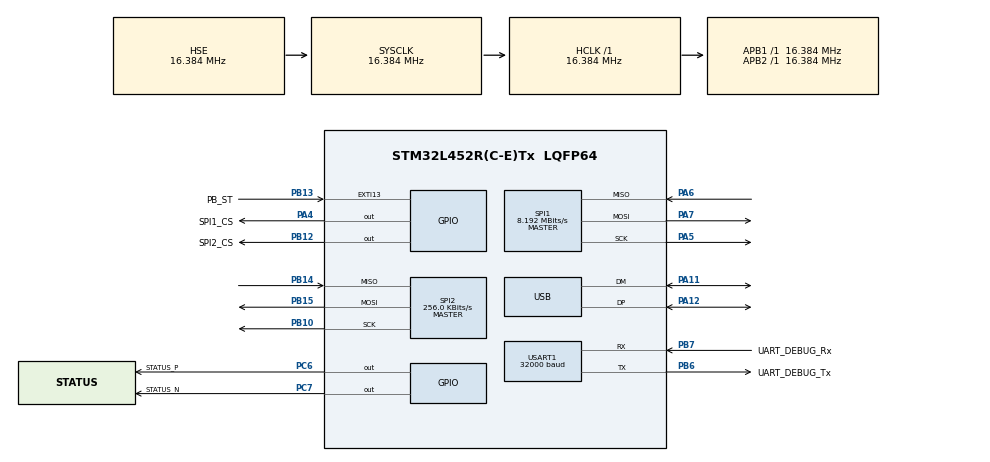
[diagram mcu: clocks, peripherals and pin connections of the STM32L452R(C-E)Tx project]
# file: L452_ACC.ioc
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Dma.Request0=SPI1_RX
Dma.Request1=SPI1_TX
Dma.Request2=USART1_TX
Dma.Request3=SPI2_RX
Dma.Request4=SPI2_TX
Dma.SPI1_RX.0.Direction=DMA_PERIPH_TO_MEMORY
Dma.SPI1_RX.0.Instance=DMA1_Channel2
Dma.SPI1_RX.0.MemDataAlignment=DMA_MDATAALIGN_BYTE
Dma.SPI1_RX.0.MemInc=DMA_MINC_ENABLE
Dma.SPI1_RX.0.Mode=DMA_NORMAL
Dma.SPI1_RX.0.PeriphDataAlignment=DMA_PDATAALIGN_BYTE
Dma.SPI1_RX.0.PeriphInc=DMA_PINC_DISABLE
Dma.SPI1_RX.0.Priority=DMA_PRIORITY_LOW
Dma.SPI1_TX.1.Direction=DMA_MEMORY_TO_PERIPH
Dma.SPI1_TX.1.Instance=DMA1_Channel3
Dma.SPI1_TX.1.MemDataAlignment=DMA_MDATAALIGN_BYTE
Dma.SPI1_TX.1.MemInc=DMA_MINC_ENABLE
Dma.SPI1_TX.1.Mode=DMA_NORMAL
Dma.SPI1_TX.1.PeriphDataAlignment=DMA_PDATAALIGN_BYTE
Dma.SPI1_TX.1.PeriphInc=DMA_PINC_DISABLE
Dma.SPI1_TX.1.Priority=DMA_PRIORITY_LOW
Dma.SPI2_RX.3.Direction=DMA_PERIPH_TO_MEMORY
Dma.SPI2_RX.3.Instance=DMA1_Channel4
Dma.SPI2_RX.3.MemDataAlignment=DMA_MDATAALIGN_BYTE
Dma.SPI2_RX.3.MemInc=DMA_MINC_ENABLE
Dma.SPI2_RX.3.Mode=DMA_NORMAL
Dma.SPI2_RX.3.PeriphDataAlignment=DMA_PDATAALIGN_BYTE
Dma.SPI2_RX.3.PeriphInc=DMA_PINC_DISABLE
Dma.SPI2_RX.3.Priority=DMA_PRIORITY_LOW
Dma.SPI2_TX.4.Direction=DMA_MEMORY_TO_PERIPH
Dma.SPI2_TX.4.Instance=DMA1_Channel5
Dma.SPI2_TX.4.MemDataAlignment=DMA_MDATAALIGN_BYTE
Dma.SPI2_TX.4.MemInc=DMA_MINC_ENABLE
Dma.SPI2_TX.4.Mode=DMA_NORMAL
Dma.SPI2_TX.4.PeriphDataAlignment=DMA_PDATAALIGN_BYTE
Dma.SPI2_TX.4.PeriphInc=DMA_PINC_DISABLE
Dma.SPI2_TX.4.Priority=DMA_PRIORITY_LOW
Dma.USART1_TX.2.Direction=DMA_MEMORY_TO_PERIPH
Dma.USART1_TX.2.Instance=DMA2_Channel6
Dma.USART1_TX.2.MemDataAlignment=DMA_MDATAALIGN_BYTE
Dma.USART1_TX.2.MemInc=DMA_MINC_ENABLE
Dma.USART1_TX.2.Mode=DMA_NORMAL
Dma.USART1_TX.2.PeriphDataAlignment=DMA_PDATAALIGN_BYTE
Dma.USART1_TX.2.PeriphInc=DMA_PINC_DISABLE
Dma.USART1_TX.2.Priority=DMA_PRIORITY_LOW
FREERTOS.BinarySemaphores01=sem_mem_write,Dynamic,NULL;sem_mem_read,Dynamic,NULL;sem_usb,Dynamic,NULL;sem_SPI_DMA,Dynamic,NULL;sem_processing,Dynamic,NULL;sem_sampling,Dynamic,NULL
FREERTOS.Mutexes01=mutex_buffer,Dynamic,NULL
FREERTOS.Queues01=usb_cmd_queue,30,uint8_t,0,Dynamic,NULL,NULL
FREERTOS.Tasks01=main_task,32,512,task_main,Default,NULL,Dynamic,NULL,NULL;task_sampling,8,512,sampling_task,Default,NULL,Dynamic,NULL,NULL
FREERTOS.configENABLE_FPU=1
FREERTOS.configTOTAL_HEAP_SIZE=32768
FREERTOS.configUSE_NEWLIB_REENTRANT=1
FREERTOS.configUSE_TICKLESS_IDLE=2
LPTIM1.UpdateMode=LPTIM_UPDATE_ENDOFPERIOD
Mcu.Family=STM32L4
Mcu.Name=STM32L452R(C-E)Tx
Mcu.Package=LQFP64
NVIC.DMA1_Channel2_IRQn=true\:5\:0\:false\:false\:true\:true\:false\:true\:true
NVIC.DMA1_Channel3_IRQn=true\:5\:0\:false\:false\:true\:true\:false\:true\:true
NVIC.DMA1_Channel4_IRQn=true\:5\:0\:false\:false\:true\:true\:false\:true\:true
NVIC.DMA1_Channel5_IRQn=true\:5\:0\:false\:false\:true\:true\:false\:true\:true
NVIC.DMA2_Channel6_IRQn=true\:5\:0\:false\:false\:true\:true\:false\:true\:true
NVIC.EXTI15_10_IRQn=true\:5\:0\:false\:false\:true\:true\:true\:true\:true
NVIC.LPTIM1_IRQn=true\:5\:0\:false\:false\:true\:true\:true\:true\:true
NVIC.PriorityGroup=NVIC_PRIORITYGROUP_4
NVIC.RTC_WKUP_IRQn=true\:5\:0\:false\:false\:true\:true\:true\:true\:true
NVIC.USB_IRQn=true\:5\:0\:false\:false\:true\:true\:false\:true\:true
PA11.Mode=Device
PA11.Signal=USB_DM
PA12.Mode=Device
PA12.Signal=USB_DP
PA13\ (JTMS/SWDIO).GPIO_Label=TMS
PA13\ (JTMS/SWDIO).Mode=Serial_Wire
PA13\ (JTMS/SWDIO).Signal=SYS_JTMS-SWDIO
PA14\ (JTCK/SWCLK).GPIO_Label=TCK
PA14\ (JTCK/SWCLK).Mode=Serial_Wire
PA14\ (JTCK/SWCLK).Signal=SYS_JTCK-SWCLK
PA4.GPIO_Label=SPI1_CS
PA4.GPIO_Speed=GPIO_SPEED_FREQ_VERY_HIGH
PA4.PinState=GPIO_PIN_RESET
PA4.Signal=GPIO_Output
PA5.GPIO_PuPd=GPIO_NOPULL
PA5.Mode=Full_Duplex_Master
PA5.Signal=SPI1_SCK
PA6.GPIO_PuPd=GPIO_NOPULL
PA6.Mode=Full_Duplex_Master
PA6.Signal=SPI1_MISO
PA7.GPIO_PuPd=GPIO_NOPULL
PA7.Mode=Full_Duplex_Master
PA7.Signal=SPI1_MOSI
PB10.Mode=Full_Duplex_Master
PB10.Signal=SPI2_SCK
PB12.GPIO_Label=SPI2_CS
PB12.Signal=GPIO_Output
PB13.GPIO_Label=PB_ST
PB13.GPIO_ModeDefaultEXTI=GPIO_MODE_IT_FALLING
PB13.GPIO_PuPd=GPIO_PULLUP
PB13.Signal=GPXTI13
PB14.Mode=Full_Duplex_Master
PB14.Signal=SPI2_MISO
PB15.Mode=Full_Duplex_Master
PB15.Signal=SPI2_MOSI
PB6.GPIO_Label=UART_DEBUG_Tx
PB6.Mode=Asynchronous
PB6.Signal=USART1_TX
PB7.GPIO_Label=UART_DEBUG_Rx
PB7.Mode=Asynchronous
PB7.Signal=USART1_RX
PC14-OSC32_IN\ (PC14).Mode=LSE-External-Oscillator
PC14-OSC32_IN\ (PC14).Signal=RCC_OSC32_IN
PC15-OSC32_OUT\ (PC15).Mode=LSE-External-Oscillator
PC15-OSC32_OUT\ (PC15).Signal=RCC_OSC32_OUT
PC6.GPIO_Label=STATUS_P
PC6.GPIO_Speed=GPIO_SPEED_FREQ_VERY_HIGH
PC6.PinState=GPIO_PIN_RESET
PC6.Signal=GPIO_Output
PC7.GPIO_Label=STATUS_N
PC7.GPIO_PuPd=GPIO_PULLDOWN
PC7.GPIO_Speed=GPIO_SPEED_FREQ_LOW
PC7.Signal=GPIO_Output
PH0-OSC_IN\ (PH0).Mode=HSE-External-Oscillator
PH0-OSC_IN\ (PH0).Signal=RCC_OSC_IN
PH1-OSC_OUT\ (PH1).Mode=HSE-External-Oscillator
PH1-OSC_OUT\ (PH1).Signal=RCC_OSC_OUT
ProjectManager.HeapSize=0x200
ProjectManager.StackSize=0x400
ProjectManager.TargetToolchain=STM32CubeIDE
RCC.ADCFreq_Value=65536000
RCC.AHBFreq_Value=16384000
RCC.APB1Freq_Value=16384000
RCC.APB1TimFreq_Value=16384000
RCC.APB2Freq_Value=16384000
RCC.APB2TimFreq_Value=16384000
RCC.CK48CLockSelection=RCC_USBCLKSOURCE_HSI48
RCC.CortexFreq_Value=16384000
RCC.EnbaleCSS=true
RCC.HCLKFreq_Value=16384000
RCC.HSE_Timout=5000
RCC.HSE_VALUE=16384000
RCC.HSI48_VALUE=48000000
RCC.HSI_VALUE=16000000
RCC.LPUART1CLockSelection=RCC_LPUART1CLKSOURCE_HSI
RCC.LSE_Timout=5000
RCC.MSIClockRange=RCC_MSIRANGE_11
RCC.MSI_VALUE=48000000
RCC.PLLM=2
RCC.PLLP=RCC_PLLP_DIV19
RCC.PLLQ=RCC_PLLQ_DIV8
RCC.PLLR=RCC_PLLR_DIV8
RCC.PLLSAI1N=16
RCC.PLLSAI1P=RCC_PLLP_DIV8
RCC.PLLSAI1Q=RCC_PLLQ_DIV8
RCC.PLLSourceVirtual=RCC_PLLSOURCE_HSE
RCC.RTCClockSelection=RCC_RTCCLKSOURCE_LSE
RCC.SAI1CLockSelection=RCC_SAI1CLKSOURCE_PLL
RCC.SYSCLKFreq_VALUE=16384000
RCC.SYSCLKSource=RCC_SYSCLKSOURCE_HSE
RCC.USBFreq_Value=48000000
RCC.VCOOutputFreq_Value=65536000
RCC.VDD_VALUE=1.8
RTC.AsynchPrediv=127
RTC.HourFormat=RTC_HOURFORMAT_24
RTC.SynchPrediv=255
RTC.WakeUpCounter-WakeUp=614
SPI1.BaudRatePrescaler=SPI_BAUDRATEPRESCALER_2
SPI1.CalculateBaudRate=8.192 MBits/s
SPI1.DataSize=SPI_DATASIZE_8BIT
SPI1.Direction=SPI_DIRECTION_2LINES
SPI1.Mode=SPI_MODE_MASTER
SPI1.VirtualType=VM_MASTER
SPI2.BaudRatePrescaler=SPI_BAUDRATEPRESCALER_64
SPI2.CalculateBaudRate=256.0 KBits/s
SPI2.DataSize=SPI_DATASIZE_8BIT
SPI2.Direction=SPI_DIRECTION_2LINES
SPI2.Mode=SPI_MODE_MASTER
SPI2.VirtualType=VM_MASTER
USART1.BaudRate=32000
USART1.VirtualMode-Asynchronous=VM_ASYNC
USB_DEVICE.CLASS_NAME_FS=CDC
USB_DEVICE.VirtualMode=Cdc
USB_DEVICE.VirtualModeFS=Cdc_FS
VP_FREERTOS_VS_CMSIS_V2.Mode=CMSIS_V2
VP_LPTIM1_VS_LPTIM_counterModeInternalClock.Mode=Counts__internal_clock_event_00
VP_RTC_VS_RTC_Activate.Mode=RTC_Enabled
VP_RTC_VS_RTC_WakeUp_intern.Mode=WakeUp
VP_USB_DEVICE_VS_USB_DEVICE_CDC_FS.Mode=CDC_FS
board=NUCLEO-L452RE

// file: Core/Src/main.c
/* USER CODE BEGIN Header */
/**
 ******************************************************************************
 * @file           : main.c
 * @brief          : Main program body
 ******************************************************************************
 * @attention
 *
 * Copyright (c) 2023 STMicroelectronics.
 * All rights reserved.
 *
 * This software is licensed under terms that can be found in the LICENSE file
 * in the root directory of this software component.
 * If no LICENSE file comes with this software, it is provided AS-IS.
 *
 ******************************************************************************
 */
/* USER CODE END Header */
#include "main.h"
#include "cmsis_os.h"

/* USER CODE BEGIN Includes */
#include <stdio.h>
#include <string.h>
#include <stdarg.h>
#include "arm_math.h"
#include "stdio.h"
#include "usbd_cdc_if.h"
#include "string.h"
#include "time.h"
#include "string.h"
#include "m95p32.h"
#include "EEPROM.h"
#include "stm32l4xx_ll_rcc.h"
#include "usb_device.h"
#include "ADXL355.h"
/* USER CODE END Includes */

LPTIM_HandleTypeDef hlptim1;

RTC_HandleTypeDef hrtc;

SPI_HandleTypeDef hspi1;
SPI_HandleTypeDef hspi2;
DMA_HandleTypeDef hdma_spi1_rx;
DMA_HandleTypeDef hdma_spi1_tx;
DMA_HandleTypeDef hdma_spi2_rx;
DMA_HandleTypeDef hdma_spi2_tx;

UART_HandleTypeDef huart1;
DMA_HandleTypeDef hdma_usart1_tx;

/* Definitions for main_task */
osThreadId_t main_taskHandle;
const osThreadAttr_t main_task_attributes = {
  .name = "main_task",
  .stack_size = 512 * 4,
  .priority = (osPriority_t) osPriorityAboveNormal,
};
/* Definitions for task_sampling */
osThreadId_t task_samplingHandle;
const osThreadAttr_t task_sampling_attributes = {
  .name = "task_sampling",
  .stack_size = 512 * 4,
  .priority = (osPriority_t) osPriorityLow,
};
/* Definitions for usb_cmd_queue */
osMessageQueueId_t usb_cmd_queueHandle;
const osMessageQueueAttr_t usb_cmd_queue_attributes = {
  .name = "usb_cmd_queue"
};
/* Definitions for mutex_buffer */
osMutexId_t mutex_bufferHandle;
const osMutexAttr_t mutex_buffer_attributes = {
  .name = "mutex_buffer"
};
/* Definitions for sem_mem_write */
osSemaphoreId_t sem_mem_writeHandle;
const osSemaphoreAttr_t sem_mem_write_attributes = {
  .name = "sem_mem_write"
};
/* Definitions for sem_mem_read */
osSemaphoreId_t sem_mem_readHandle;
const osSemaphoreAttr_t sem_mem_read_attributes = {
  .name = "sem_mem_read"
};
/* Definitions for sem_usb */
osSemaphoreId_t sem_usbHandle;
const osSemaphoreAttr_t sem_usb_attributes = {
  .name = "sem_usb"
};
/* Definitions for sem_SPI_DMA */
osSemaphoreId_t sem_SPI_DMAHandle;
const osSemaphoreAttr_t sem_SPI_DMA_attributes = {
  .name = "sem_SPI_DMA"
};
/* Definitions for sem_processing */
osSemaphoreId_t sem_processingHandle;
const osSemaphoreAttr_t sem_processing_attributes = {
  .name = "sem_processing"
};
/* Definitions for sem_sampling */
osSemaphoreId_t sem_samplingHandle;
const osSemaphoreAttr_t sem_sampling_attributes = {
  .name = "sem_sampling"
};
/* USER CODE BEGIN PV */

/* Definitions for usb_task */
osThreadId_t usb_taskHandle;
const osThreadAttr_t usb_task_attributes = { .name = "usb_task", .stack_size = 1024 * 4,
		.priority = (osPriority_t) osPriorityAboveNormal,};

RTC_TimeTypeDef rtc_time;
RTC_DateTypeDef rtc_date;
struct tm time_ref;

//Config values
uint32_t BankNumber = 0;
uint32_t Address = 0, PAGEError = 0;
__IO uint32_t MemoryProgramStatus = 0;
__IO uint64_t data64 = 0;
static FLASH_EraseInitTypeDef EraseInitStruct;
const uint64_t Data64_To_Prog[FLASH_ROW_SIZE] = {
  0x1234567890123456, 0x1111111111111111, 0x2222222222222222, 0x3333333333333333,
  0x4444444444444444, 0x5555555555555555, 0x6666666666666666, 0x7777777777777777,
  0x8888888888888888, 0x9999999999999999, 0xAAAAAAAAAAAAAAAA, 0xBBBBBBBBBBBBBBBB,
  0xCCCCCCCCCCCCCCCC, 0xDDDDDDDDDDDDDDDD, 0xEEEEEEEEEEEEEEEE, 0xFFFFFFFFFFFFFFFF,
  0x0011001100110011, 0x2233223322332233, 0x4455445544554455, 0x6677667766776677,
  0x8899889988998899, 0xAABBAABBAABBAABB, 0xCCDDCCDDCCDDCCDD, 0xEEFFEEFFEEFFEEFF,
  0x2200220022002200, 0x3311331133113311, 0x6644664466446644, 0x7755775577557755,
  0xAA88AA88AA88AA88, 0xBB99BB99BB99BB99, 0xEECCEECCEECCEECC, 0xFFDDFFDDFFDDFFDD};

//USB
uint8_t usb_cmd[buffer_size];
extern USBD_HandleTypeDef hUsbDeviceFS;
uint8_t USB_plugged = 0;

uint8_t LPWGNS_config = false;
uint8_t buffer_rx[2];
uint8_t buffer_lpwa_old[buffer_lwpa_config_size] = {0};
uint16_t buffer_lpwa_len = 0;
uint16_t write_lpwa_index = 0;
uint16_t read_lpwa_index = 0;

uint8_t gps_enabled = false;		//Use gps coordinates
uint8_t lpwa_enabled = false;		//Use gps coordinates
float32_t cal = 0; //21.8
uint16_t LeqTime = 1;  	//Leq time period - '0' value indicates fast Leq (Up to 1 hour - 3600 seconds)
uint16_t RecTime = 0;    	//Recording time - '0' value indicates push button control recording
uint8_t octave = true;  //'True' or 'false' calculate octave bands

//Variables
time_t endTime;     //End time of recording
uint8_t start=false;   //Flag to keep track of measuring status
uint8_t	sampling_buffer[fast_125ms*4]; // fast_125ms samples of 32 bits (4 bytes) - 24 bits data
float32_t working_buffer[fast_125ms + 96] = {0};
float32_t aux_low_freqs[4][250];
float32_t acc_dec_buffer[fast_125ms + 96] = {0};//__attribute__((section(".sram2"))) = {0};	//TODO: Ram2 only working for less than 2000 samples
uint8_t acc_dec_ctr = 0;
uint32_t seconds =  0;

struct BUFF
{
	uint16_t bufferLength;	//Actual buffer length
	uint16_t writeIndex;	 //	Increase writeIndex position to prepare for next write
	uint16_t readIndex;
	uint8_t  bufferMain[max_msgs][buffer_size];	//Five commands of maximum 40 chars
};

struct BUFF USB_msgs;
osStatus_t Queue_put(struct BUFF *queue, uint8_t *msg_in, uint8_t msg_len);
osStatus_t Queue_get(struct BUFF *queue, uint8_t *msg_out);

#ifndef MIC
	float32_t sine_working_buffer[fast_125ms + 96] = {0};
#endif

//Measurement data
uint32_t data_ctr=0;
int32_t data_array[data_buff_len];

float32_t	input_f32 [2048]; //input para fft
float32_t	input_buf [2048]; //input para fft
float32_t	output_f32 [2048]; //2048 output crudo de fft

float32_t	output_rfft [2048]; //2048 output final de fft

float32_t rfft_angle [2048];
float32_t signo [2048];

float32_t	inputIFFT_f32 [2048];	//input para ifft

float32_t	output_signo[2048];

float32_t	inputIFFT_f32_mod [2048];	//input para ifft
float32_t	outputIFFT_f32 [2048];	// output de ifft

float32_t	output_Run [2048];	  //input para fft de tercios de octava FFT
float32_t	output_Run_mag [2048];//output de magnitud

float32_t	max_mtvv [1];	  //input para fft de tercios de octava FFT

float H [2048];	//ponderacion para las frecuencias  SE CAMIO DE 1024 a 2048
//double Hp [2048];	//ponderacion para las frecuencias
//float Hh [2048];	//banda paso alto
//float Hl [2048]; 	//banda paso bajo
//float Ht [2048];	//ponderacion pura
float f [2048];	// frecuencia de lectura
float f1;	// para Hh
float f2;	//para Hl
float f3;	//para Ht

float32_t 	RunRMS[2048];
float32_t 	RunRunRMS[2048];

float32_t Octave[1024];

const float32_t Nband[25]={

		1,// Center 	1	Hz
		3,// Center 	1.25Hz
		3,// Center 	1.6	Hz
		3,// Center 	2	Hz
		5,// Center 	2.5	Hz

		6,// Center 	3.15Hz
		7,// Center 	4	Hz
		9,// Center 	5	Hz
		12,// Center 	6.3	Hz
		15,// Center 	8	Hz

		18,// Center 	10	Hz
		23,// Center 	12.5Hz
		30,// Center 	16	Hz
		37,// Center 	20	Hz
		46,// Center 	25	Hz

		59,// Center 	31.5Hz
		73,// Center 	40	Hz
		92,// Center 	50	Hz
		117,// Center 	63	Hz
		146,// Center 	80	Hz

		184,// Center 	100	Hz
		128,// Center 	125	Hz
		0,// Center 	160	Hz
		0,// Center 	200	Hz
		0,// Center 	250	Hz
		};

const float32_t NPosition[25]={

		4,// Center 	1	Hz
		5,// Center 	1.25Hz
		6,// Center 	1.6	Hz
		8,// Center 	2	Hz
		9,// Center 	2.5	Hz

		12,// Center 	3.15Hz
		15,// Center 	4	Hz
		18,// Center 	5	Hz
		23,// Center 	6.3	Hz
		29,// Center 	8	Hz

		36,// Center 	10	Hz
		45,// Center 	12.5Hz
		57,// Center 	16	Hz
		72,// Center 	20	Hz
		90,// Center 	25	Hz

		113,// Center 	31.5Hz
		142,// Center 	40	Hz
		179,// Center 	50	Hz
		225,// Center 	63	Hz
		284,// Center 	80	Hz

		357,// Center 	100	Hz
		449,// Center 	125	Hz
		566,// Center 	160	Hz
		712,// Center 	200	Hz
		896,// Center 	250	Hz
		};

int16_t readIndex = 0;
int16_t writeIndex = 0;
int16_t bufferLength = 0;	//Number of elements in buffer

int16_t	eeprom_data_len = 0;
int16_t eeprom_read_idx = 0;
int16_t eeprom_write_idx = 0;
uint8_t eeprom_aux_buffer[M95P32_PAGESIZE];

//DEBUG
uint32_t benchmark_ctr = 0;
uint32_t benchmark_time = 0;
uint32_t tcount=1;
uint32_t prevTime = 0;
uint8_t tmp_leq[200];
uint8_t tmp_gps[200];
float32_t delta = (2*M_PI*63)/32000;
float32_t out_counter = 0;

/* USER CODE END PV */

void SystemClock_Config(void);
static void MX_GPIO_Init(void);
static void MX_DMA_Init(void);
static void MX_RTC_Init(void);
static void MX_USART1_UART_Init(void);
static void MX_SPI1_Init(void);
static void MX_LPTIM1_Init(void);
static void MX_SPI2_Init(void);
void task_main(void *argument);
void sampling_task(void *argument);

/* USER CODE BEGIN PFP */
void kappa(const char *fmt, ...);
void buffer_show();
void loadValues();
void store_config_64(uint64_t config_data);
void load_config(float32_t *cal, uint8_t *gps_enabled, uint8_t *lpwa_enabled,
			uint8_t *octave, uint16_t *RecTime, uint16_t	*LeqTime);
/* USER CODE END PFP */

/* USER CODE BEGIN 0 */
void kappa(const char *fmt, ...)
{
	static char buffer[256];
	va_list args;
	va_start(args, fmt);
	vsnprintf(buffer, sizeof(buffer), fmt, args);
	va_end(args);
	int len = strlen(buffer);
	HAL_UART_Transmit(&huart1, (uint8_t*)buffer, len, -1);
}

/* USER CODE END 0 */

int main(void)
{

  /* MCU Configuration--------------------------------------------------------*/

  /* Reset of all peripherals, Initializes the Flash interface and the Systick. */
  HAL_Init();

  /* Configure the system clock */
  SystemClock_Config();

  /* USER CODE BEGIN SysInit */
	  MX_GPIO_Init();
	  MX_DMA_Init();
	  MX_RTC_Init();
	  MX_USART1_UART_Init();
	  MX_SPI1_Init();
	  MX_SPI2_Init();
	  MX_LPTIM1_Init();
	  HAL_Delay(100);
	  SET_BIT(PWR->CR2, PWR_PVM_1);
	  HAL_Delay(500);
	  if (!HAL_IS_BIT_SET(PWR->SR2, PWR_SR2_PVMO1)) //Detect USBVDD
	  {
		  kappa("\r\n USB ON");
		  MX_USB_DEVICE_Init();

	  }else
	  {
		  kappa("\r\n USB OFF");
	  }

  //GPIO_ConfigAN();
  /* USER CODE END SysInit */

  /* Initialize all configured peripherals */
  MX_SPI2_Init();

  /* Init scheduler */
  osKernelInitialize();
  /* Create the mutex(es) */
  /* creation of mutex_buffer */
  mutex_bufferHandle = osMutexNew(&mutex_buffer_attributes);

  /* Create the semaphores(s) */
  /* creation of sem_mem_write */
  sem_mem_writeHandle = osSemaphoreNew(1, 0, &sem_mem_write_attributes);

  /* creation of sem_mem_read */
  sem_mem_readHandle = osSemaphoreNew(1, 0, &sem_mem_read_attributes);

  /* creation of sem_usb */
  sem_usbHandle = osSemaphoreNew(1, 0, &sem_usb_attributes);

  /* creation of sem_SPI_DMA */
  sem_SPI_DMAHandle = osSemaphoreNew(1, 0, &sem_SPI_DMA_attributes);

  /* creation of sem_processing */
  sem_processingHandle = osSemaphoreNew(1, 0, &sem_processing_attributes);

  /* creation of sem_sampling */
  sem_samplingHandle = osSemaphoreNew(1, 0, &sem_sampling_attributes);

  /* Create the queue(s) */
  /* creation of usb_cmd_queue */
  usb_cmd_queueHandle = osMessageQueueNew (30, sizeof(uint8_t), &usb_cmd_queue_attributes);

  /* Create the thread(s) */
  /* creation of main_task */
  main_taskHandle = osThreadNew(task_main, NULL, &main_task_attributes);

  /* creation of task_sampling */
  task_samplingHandle = osThreadNew(sampling_task, NULL, &task_sampling_attributes);

  /* Start scheduler */
  osKernelStart();

  /* We should never get here as control is now taken by the scheduler */

  /* Infinite loop */
	while (1)
	{

	}
}

void SystemClock_Config(void)
{
  RCC_OscInitTypeDef RCC_OscInitStruct = {0};
  RCC_ClkInitTypeDef RCC_ClkInitStruct = {0};

  /** Configure the main internal regulator output voltage
  */
  if (HAL_PWREx_ControlVoltageScaling(PWR_REGULATOR_VOLTAGE_SCALE1) != HAL_OK)
  {
    Error_Handler();
  }

  /** Configure LSE Drive Capability
  */
  HAL_PWR_EnableBkUpAccess();
  __HAL_RCC_LSEDRIVE_CONFIG(RCC_LSEDRIVE_LOW);

  /** Initializes the RCC Oscillators according to the specified parameters
  * in the RCC_OscInitTypeDef structure.
  */
  RCC_OscInitStruct.OscillatorType = RCC_OSCILLATORTYPE_HSI48|RCC_OSCILLATORTYPE_HSE
                              |RCC_OSCILLATORTYPE_LSE;
  RCC_OscInitStruct.HSEState = RCC_HSE_ON;
  RCC_OscInitStruct.LSEState = RCC_LSE_ON;
  RCC_OscInitStruct.HSI48State = RCC_HSI48_ON;
  RCC_OscInitStruct.PLL.PLLState = RCC_PLL_NONE;
  if (HAL_RCC_OscConfig(&RCC_OscInitStruct) != HAL_OK)
  {
    Error_Handler();
  }

  /** Initializes the CPU, AHB and APB buses clocks
  */
  RCC_ClkInitStruct.ClockType = RCC_CLOCKTYPE_HCLK|RCC_CLOCKTYPE_SYSCLK
                              |RCC_CLOCKTYPE_PCLK1|RCC_CLOCKTYPE_PCLK2;
  RCC_ClkInitStruct.SYSCLKSource = RCC_SYSCLKSOURCE_HSE;
  RCC_ClkInitStruct.AHBCLKDivider = RCC_SYSCLK_DIV1;
  RCC_ClkInitStruct.APB1CLKDivider = RCC_HCLK_DIV1;
  RCC_ClkInitStruct.APB2CLKDivider = RCC_HCLK_DIV1;

  if (HAL_RCC_ClockConfig(&RCC_ClkInitStruct, FLASH_LATENCY_1) != HAL_OK)
  {
    Error_Handler();
  }

  /** Enables the Clock Security System
  */
  HAL_RCC_EnableCSS();
}

static void MX_LPTIM1_Init(void)
{

  hlptim1.Instance = LPTIM1;
  hlptim1.Init.Clock.Source = LPTIM_CLOCKSOURCE_APBCLOCK_LPOSC;
  hlptim1.Init.Clock.Prescaler = LPTIM_PRESCALER_DIV1;
  hlptim1.Init.Trigger.Source = LPTIM_TRIGSOURCE_SOFTWARE;
  hlptim1.Init.OutputPolarity = LPTIM_OUTPUTPOLARITY_HIGH;
  hlptim1.Init.UpdateMode = LPTIM_UPDATE_ENDOFPERIOD;
  hlptim1.Init.CounterSource = LPTIM_COUNTERSOURCE_INTERNAL;
  hlptim1.Init.Input1Source = LPTIM_INPUT1SOURCE_GPIO;
  hlptim1.Init.Input2Source = LPTIM_INPUT2SOURCE_GPIO;
  if (HAL_LPTIM_Init(&hlptim1) != HAL_OK)
  {
    Error_Handler();
  }

}

static void MX_RTC_Init(void)
{

  /** Initialize RTC Only
  */
  hrtc.Instance = RTC;
  hrtc.Init.HourFormat = RTC_HOURFORMAT_24;
  hrtc.Init.AsynchPrediv = 127;
  hrtc.Init.SynchPrediv = 255;
  hrtc.Init.OutPut = RTC_OUTPUT_DISABLE;
  hrtc.Init.OutPutRemap = RTC_OUTPUT_REMAP_NONE;
  hrtc.Init.OutPutPolarity = RTC_OUTPUT_POLARITY_HIGH;
  hrtc.Init.OutPutType = RTC_OUTPUT_TYPE_OPENDRAIN;
  if (HAL_RTC_Init(&hrtc) != HAL_OK)
  {
    Error_Handler();
  }
  /* USER CODE BEGIN RTC_Init 2 */
  time_ref.tm_hour = 0x00;
  time_ref.tm_min = 0x00;
  time_ref.tm_sec = 0x00;
  time_ref.tm_mday = 0x01;
  time_ref.tm_mon = 0x01;
  time_ref.tm_year = 0x22;

  /*RTC_TimeTypeDef time;
  RTC_DateTypeDef date;
  time.Hours = 0x11;
  time.Minutes = 0x55;
  time.Seconds = 00;
  date.WeekDay = RTC_WEEKDAY_TUESDAY;
  date.Year = 0x23;
  date.Month = RTC_MONTH_JUNE;
  date.Date	= 0x07;
  HAL_RTC_SetTime(&hrtc, &time, RTC_FORMAT_BCD);
  HAL_RTC_SetDate(&hrtc, &date, RTC_FORMAT_BCD);*/

  /* USER CODE END RTC_Init 2 */

}

static void MX_SPI1_Init(void)
{

  /* SPI1 parameter configuration*/
  hspi1.Instance = SPI1;
  hspi1.Init.Mode = SPI_MODE_MASTER;
  hspi1.Init.Direction = SPI_DIRECTION_2LINES;
  hspi1.Init.DataSize = SPI_DATASIZE_8BIT;
  hspi1.Init.CLKPolarity = SPI_POLARITY_LOW;
  hspi1.Init.CLKPhase = SPI_PHASE_1EDGE;
  hspi1.Init.NSS = SPI_NSS_SOFT;
  hspi1.Init.BaudRatePrescaler = SPI_BAUDRATEPRESCALER_2;
  hspi1.Init.FirstBit = SPI_FIRSTBIT_MSB;
  hspi1.Init.TIMode = SPI_TIMODE_DISABLE;
  hspi1.Init.CRCCalculation = SPI_CRCCALCULATION_DISABLE;
  hspi1.Init.CRCPolynomial = 7;
  hspi1.Init.CRCLength = SPI_CRC_LENGTH_DATASIZE;
  hspi1.Init.NSSPMode = SPI_NSS_PULSE_ENABLE;
  if (HAL_SPI_Init(&hspi1) != HAL_OK)
  {
    Error_Handler();
  }

}

static void MX_SPI2_Init(void)
{

  /* SPI2 parameter configuration*/
  hspi2.Instance = SPI2;
  hspi2.Init.Mode = SPI_MODE_MASTER;
  hspi2.Init.Direction = SPI_DIRECTION_2LINES;
  hspi2.Init.DataSize = SPI_DATASIZE_8BIT;
  hspi2.Init.CLKPolarity = SPI_POLARITY_LOW;
  hspi2.Init.CLKPhase = SPI_PHASE_1EDGE;
  hspi2.Init.NSS = SPI_NSS_SOFT;
  hspi2.Init.BaudRatePrescaler = SPI_BAUDRATEPRESCALER_64;
  hspi2.Init.FirstBit = SPI_FIRSTBIT_MSB;
  hspi2.Init.TIMode = SPI_TIMODE_DISABLE;
  hspi2.Init.CRCCalculation = SPI_CRCCALCULATION_DISABLE;
  hspi2.Init.CRCPolynomial = 7;
  hspi2.Init.CRCLength = SPI_CRC_LENGTH_DATASIZE;
  hspi2.Init.NSSPMode = SPI_NSS_PULSE_ENABLE;
  if (HAL_SPI_Init(&hspi2) != HAL_OK)
  {
    Error_Handler();
  }

}

static void MX_USART1_UART_Init(void)
{

  huart1.Instance = USART1;
  huart1.Init.BaudRate = 32000;
  huart1.Init.WordLength = UART_WORDLENGTH_8B;
  huart1.Init.StopBits = UART_STOPBITS_1;
  huart1.Init.Parity = UART_PARITY_NONE;
  huart1.Init.Mode = UART_MODE_TX_RX;
  huart1.Init.HwFlowCtl = UART_HWCONTROL_NONE;
  huart1.Init.OverSampling = UART_OVERSAMPLING_16;
  huart1.Init.OneBitSampling = UART_ONE_BIT_SAMPLE_DISABLE;
  huart1.AdvancedInit.AdvFeatureInit = UART_ADVFEATURE_NO_INIT;
  if (HAL_UART_Init(&huart1) != HAL_OK)
  {
    Error_Handler();
  }

}

static void MX_DMA_Init(void)
{

  /* DMA controller clock enable */
  __HAL_RCC_DMA1_CLK_ENABLE();
  __HAL_RCC_DMA2_CLK_ENABLE();

  /* DMA interrupt init */
  /* DMA1_Channel2_IRQn interrupt configuration */
  HAL_NVIC_SetPriority(DMA1_Channel2_IRQn, 5, 0);
  HAL_NVIC_EnableIRQ(DMA1_Channel2_IRQn);
  /* DMA1_Channel3_IRQn interrupt configuration */
  HAL_NVIC_SetPriority(DMA1_Channel3_IRQn, 5, 0);
  HAL_NVIC_EnableIRQ(DMA1_Channel3_IRQn);
  /* DMA1_Channel4_IRQn interrupt configuration */
  HAL_NVIC_SetPriority(DMA1_Channel4_IRQn, 5, 0);
  HAL_NVIC_EnableIRQ(DMA1_Channel4_IRQn);
  /* DMA1_Channel5_IRQn interrupt configuration */
  HAL_NVIC_SetPriority(DMA1_Channel5_IRQn, 5, 0);
  HAL_NVIC_EnableIRQ(DMA1_Channel5_IRQn);
  /* DMA2_Channel3_IRQn interrupt configuration */
  NVIC_SetPriority(DMA2_Channel3_IRQn, NVIC_EncodePriority(NVIC_GetPriorityGrouping(),6, 0));
  NVIC_EnableIRQ(DMA2_Channel3_IRQn);
  /* DMA2_Channel4_IRQn interrupt configuration */
  NVIC_SetPriority(DMA2_Channel4_IRQn, NVIC_EncodePriority(NVIC_GetPriorityGrouping(),5, 0));
  NVIC_EnableIRQ(DMA2_Channel4_IRQn);
  /* DMA2_Channel6_IRQn interrupt configuration */
  HAL_NVIC_SetPriority(DMA2_Channel6_IRQn, 5, 0);
  HAL_NVIC_EnableIRQ(DMA2_Channel6_IRQn);

}

static void MX_GPIO_Init(void)
{
  GPIO_InitTypeDef GPIO_InitStruct = {0};

  /* GPIO Ports Clock Enable */
  __HAL_RCC_GPIOC_CLK_ENABLE();
  __HAL_RCC_GPIOH_CLK_ENABLE();
  __HAL_RCC_GPIOA_CLK_ENABLE();
  __HAL_RCC_GPIOB_CLK_ENABLE();

  /*Configure GPIO pin Output Level */
  HAL_GPIO_WritePin(SPI1_CS_GPIO_Port, SPI1_CS_Pin, GPIO_PIN_RESET);

  /*Configure GPIO pin Output Level */
  HAL_GPIO_WritePin(SPI2_CS_GPIO_Port, SPI2_CS_Pin, GPIO_PIN_RESET);

  /*Configure GPIO pin Output Level */
  HAL_GPIO_WritePin(GPIOC, STATUS_P_Pin|STATUS_N_Pin, GPIO_PIN_RESET);

  /*Configure GPIO pin : SPI1_CS_Pin */
  GPIO_InitStruct.Pin = SPI1_CS_Pin;
  GPIO_InitStruct.Mode = GPIO_MODE_OUTPUT_PP;
  GPIO_InitStruct.Pull = GPIO_NOPULL;
  GPIO_InitStruct.Speed = GPIO_SPEED_FREQ_VERY_HIGH;
  HAL_GPIO_Init(SPI1_CS_GPIO_Port, &GPIO_InitStruct);

  /*Configure GPIO pin : SPI2_CS_Pin */
  GPIO_InitStruct.Pin = SPI2_CS_Pin;
  GPIO_InitStruct.Mode = GPIO_MODE_OUTPUT_PP;
  GPIO_InitStruct.Pull = GPIO_NOPULL;
  GPIO_InitStruct.Speed = GPIO_SPEED_FREQ_LOW;
  HAL_GPIO_Init(SPI2_CS_GPIO_Port, &GPIO_InitStruct);

  /*Configure GPIO pin : PB_ST_Pin */
  GPIO_InitStruct.Pin = PB_ST_Pin;
  GPIO_InitStruct.Mode = GPIO_MODE_IT_FALLING;
  GPIO_InitStruct.Pull = GPIO_PULLUP;
  HAL_GPIO_Init(PB_ST_GPIO_Port, &GPIO_InitStruct);

  /*Configure GPIO pin : STATUS_P_Pin */
  GPIO_InitStruct.Pin = STATUS_P_Pin;
  GPIO_InitStruct.Mode = GPIO_MODE_OUTPUT_PP;
  GPIO_InitStruct.Pull = GPIO_NOPULL;
  GPIO_InitStruct.Speed = GPIO_SPEED_FREQ_VERY_HIGH;
  HAL_GPIO_Init(STATUS_P_GPIO_Port, &GPIO_InitStruct);

  /*Configure GPIO pin : STATUS_N_Pin */
  GPIO_InitStruct.Pin = STATUS_N_Pin;
  GPIO_InitStruct.Mode = GPIO_MODE_OUTPUT_PP;
  GPIO_InitStruct.Pull = GPIO_PULLDOWN;
  GPIO_InitStruct.Speed = GPIO_SPEED_FREQ_LOW;
  HAL_GPIO_Init(STATUS_N_GPIO_Port, &GPIO_InitStruct);

  /* EXTI interrupt init*/
  HAL_NVIC_SetPriority(EXTI15_10_IRQn, 5, 0);
  HAL_NVIC_EnableIRQ(EXTI15_10_IRQn);

}

/* USER CODE BEGIN 4 */
void HAL_RTC_AlarmAEventCallback(RTC_HandleTypeDef *hrtc)
{
	kappa("Alarm!\r\n");
}

time_t rtc_read(void)
{
	struct tm timeinfo;
	time_t	t;
	HAL_RTC_GetTime(&hrtc, &rtc_time, RTC_FORMAT_BIN);
	HAL_RTC_GetDate(&hrtc, &rtc_date, RTC_FORMAT_BIN);

	timeinfo.tm_mon  = rtc_date.Month -1 ;
	timeinfo.tm_mday = rtc_date.Date;
	uint16_t y = rtc_date.Year;
	timeinfo.tm_year =  (uint16_t)(y+2000-1900);
	timeinfo.tm_hour = rtc_time.Hours;
	timeinfo.tm_min  = rtc_time.Minutes;
	timeinfo.tm_sec  = rtc_time.Seconds;

	t = mktime(&timeinfo);

	return t;
}

osStatus_t Queue_put(struct BUFF *queue, uint8_t *msg_in, uint8_t msg_len)
{
	if (queue->bufferLength == max_msgs)
	{
		#ifdef DEBUG
			kappa("\r\nBuffer is full!");
		#endif
		return osError;
	}
	queue->bufferMain[queue->writeIndex][0] = msg_len;
	//memset(queue->bufferMain[queue->writeIndex], 0, buffer_size);	TODO: Make this work//Clear buffer for previous data
	memcpy(&queue->bufferMain[queue->writeIndex][1], msg_in, msg_len);

	queue->bufferLength++;	 //	Increase buffer size after writing
	queue->writeIndex++;	 //	Increase writeIndex position to prepare for next write

	// If at last index in buffer, set writeIndex back to 0
	if (queue->writeIndex == max_msgs)
		queue->writeIndex = 0;

	return osOK;
}

osStatus_t Queue_get(struct BUFF *queue, uint8_t *msg_out)
{
	if (queue->bufferLength == 0)
	{
		#ifdef DEBUG
			kappa("\r\nBuffer is empty!");
		#endif
		return osError;
	}

	memcpy(msg_out, queue->bufferMain[queue->readIndex], queue->bufferMain[queue->readIndex][0]+1);
	queue->bufferLength--;	 //	Decrease buffer size after reading
	queue->readIndex++;	 //	Increase readIndex position to prepare for next read

	// If at last index in buffer, set readIndex back to 0
	if (queue->readIndex == max_msgs)
		queue->readIndex = 0;

	return osOK;
}

osStatus_t eeprom_write(uint8_t *data)
{
	if (eeprom_data_len == eeprom_size)
	{
		kappa("\r\nEEPROM is full!");
		return osError;
	}
	WRITE_ENABLE();
	if(Page_Write(data, eeprom_write_idx*M95P32_PAGESIZE, block_len*2)!=M95_OK)
	{
		kappa("\r\neeprom_write ERROR!");
		return osError;
	}
	//vTaskDelay(2);
	WRITE_DISABLE();

	eeprom_data_len++;	 //	Increase buffer size after writing
	eeprom_write_idx++;	 //	Increase writeIndex position to prepare for next write

	// If at last index in buffer, set writeIndex back to 0
	if (eeprom_write_idx == eeprom_size)
		eeprom_write_idx = 0;

	return osOK;
}

osStatus_t eeprom_read(uint8_t *data_out)
{
	if (eeprom_data_len == 0)
	{
		kappa("\r\nEEPROM is empty!");
		return osError;
	}

	if(Single_Read(data_out, eeprom_read_idx*M95P32_PAGESIZE, block_len*2)!=M95_OK)
	{
		kappa("\r\neeprom_read ERROR!");
		return osError;
	}

	eeprom_data_len--;	 //	Decrease buffer size after reading
	eeprom_read_idx++;	 //	Increase readIndex position to prepare for next read

	// If at last index in buffer, set readIndex back to 0
	if (eeprom_read_idx == eeprom_data_len)
		eeprom_read_idx = 0;

	return osOK;
}

void task_usb(void *argument)
{
	/* USER CODE BEGIN task_usb */
	uint16_t data_len = 0, tout = 100;
	uint64_t p;

	uint64_t config_val = 0;

	RTC_TimeTypeDef time;
	RTC_DateTypeDef date;

	uint8_t currTimeBuff[50];
	/* Infinite loop */
	for(;;)
	{
		osSemaphoreAcquire(sem_usbHandle, osWaitForever);
		#ifdef debug_USB
			//kappa("\r\ncmd0:%02x%02x%02x", usb_cmd[0], usb_cmd[1], usb_cmd[2]);
		#endif

		kappa("\r\nQueue out [%d]: ", USB_msgs.bufferLength);

		while(USB_msgs.bufferLength>0)
		{
			Queue_get(&USB_msgs, usb_cmd);
			for(int ii=0;ii<usb_cmd[0];ii++)
				kappa("%c", usb_cmd[ii+1]);
		}

		switch(usb_cmd[1])
		{
			case 0xFF:	//Validate PC connection sending the random bytes back
				#ifdef debug_USB
					kappa("\r\nConnected!");
				#endif
				CDC_Transmit_FS(&usb_cmd[1], usb_cmd[0]);
			break;

			case 0x01:	//Get EEPROM data length
				data_len = get_eeprom_data_len();
				#ifdef debug_USB
					kappa("\r\nEEPROM Length: %d", data_len);
				#endif
				CDC_Transmit_FS((uint8_t*)&data_len, 2);
			break;

			case 0x02: //Read EEPROM data
				memcpy(&data_len, &usb_cmd[2], 2);
				Single_Read(eeprom_aux_buffer, data_len*M95P32_PAGESIZE, block_len*2);
				#ifdef debug_USB
					kappa("\r\EEPROM Length: %d", data_len);
					kappa("\r\nRead: ");
					for(int ii=0;ii<block_len*2;ii++)
						kappa("%02x", eeprom_aux_buffer[ii]);
				#endif
				CDC_Transmit_FS(eeprom_aux_buffer, block_len*2);
			break;

			case 0x03:	//Enter LPWA configuration
				memcpy(&tout, &usb_cmd[2], 2);

				#ifdef debug_USB
					kappa("\r\nIoT Config! (Tout=%d)", tout);
				#endif

			break;

			case 0x04:	//Get configuration value from flash memory
				p = *(uint64_t *)ADDR_FLASH_PAGE_252;
				#ifdef debug_USB
					kappa("\r\nConfig. value:%lx - %lx",(uint32_t)(p>>32), (uint32_t)(p&0xFFFFFFFF));
				#endif
				CDC_Transmit_FS((uint8_t*)&p, 8);
			break;

			case 0x05:	//Receive 64bit configuration data and store it in flash

				memcpy(&config_val, &usb_cmd[2], 8);

				#ifdef debug_USB
					kappa("\r\nConfig_val: %d", config_val);
				#endif
				store_config_64(config_val);
				vTaskDelay(100);
				load_config(&cal, &gps_enabled, &lpwa_enabled, &octave, &RecTime, &LeqTime);
				#ifdef debug_USB
					kappa("\r\nCal: %f, gps:%d, lwpa:%d, octave:%d, Rec:%d, Leq:%d", cal, gps_enabled, lpwa_enabled, octave, RecTime, LeqTime);
				#endif
			break;

			case 0x06:
				time.Hours = usb_cmd[2];
				time.Minutes = usb_cmd[3];
				time.Seconds = usb_cmd[4];
				date.WeekDay = usb_cmd[5];
				date.Year = usb_cmd[6];
				date.Month = usb_cmd[7];
				date.Date = usb_cmd[8];
				HAL_RTC_SetTime(&hrtc, &time, RTC_FORMAT_BCD);
				HAL_RTC_SetDate(&hrtc, &date, RTC_FORMAT_BCD);

				#ifdef debug_USB
					vTaskDelay(100);
					HAL_RTC_GetTime(&hrtc, &rtc_time, RTC_FORMAT_BIN);
					HAL_RTC_GetDate(&hrtc, &rtc_date, RTC_FORMAT_BIN);
					sprintf((char *)currTimeBuff, "%02d/%02d/%02d %02d:%02d:%02d %04lu/%04lu", rtc_date.Date, rtc_date.Month, rtc_date.Year,
								rtc_time.Hours, rtc_time.Minutes, rtc_time.Seconds, rtc_time.SubSeconds, rtc_time.SecondFraction);
					kappa("\r\n%s", currTimeBuff);
					kappa("\r\nDatetime Configuration EXIT!");
				#endif
			break;

			case 0x07:
				//TODO: Return data to validate erase ok
				WRITE_ENABLE();
				Chip_Erase();
				WRITE_DISABLE();
				#ifdef debug_USB
					kappa("\r\nChip_Erase");
				#endif
			break;

			case 0x08:

			break;

			default:
				kappa("\r\nUnknown command!");
			break;
		}
	}
	/* USER CODE END task_usb */
}

void buffer_show()
{
	int16_t idx = readIndex;
	//kappa("\r\n\r\nBuffer: ");
	for(int jj=0;jj<bufferLength;jj++)
	{
		//kappa("\r\nBlock %d: ",jj);
		for(int ii=0;ii<block_len;ii++)
			//kappa("%02x", leqs_buffer_main[jj][ii]);
		idx++;
		if(idx == buffer_size)
			idx=0;
	}
	//kappa("\r\n");
}

void store_config_64(uint64_t config_data)
{
	uint8_t ctr = 0;
	HAL_StatusTypeDef stat = HAL_OK;
	if (HAL_FLASH_Unlock()!= HAL_OK)
			kappa("\r\nError unlocking memory...");
	else
		kappa("\r\nMEMORY UNLOCKED!");
	__HAL_FLASH_CLEAR_FLAG(FLASH_FLAG_OPTVERR);

	EraseInitStruct.TypeErase = FLASH_TYPEERASE_PAGES;
	//EraseInitStruct.TypeErase = FLASH_TYPEERASE_MASSERASE;
	EraseInitStruct.NbPages = 1;
	EraseInitStruct.Page	= 252;
	EraseInitStruct.Banks = FLASH_BANK_1;
	vTaskDelay(150);
	stat = HAL_FLASHEx_Erase(&EraseInitStruct, &PAGEError) ;
	while ((stat!= HAL_OK) & (ctr<3))
	{
		kappa("\r\nError clearing memory...");
		ctr++;
		vTaskDelay(150);
		stat = HAL_FLASHEx_Erase(&EraseInitStruct, &PAGEError) ;
	}
	if (stat==HAL_OK)
		kappa("\r\nMEMORY ERASED!");

	vTaskDelay(150);
	ctr=0;
	stat = HAL_FLASH_Program(FLASH_TYPEPROGRAM_DOUBLEWORD, ADDR_FLASH_PAGE_252,  config_data);
	while ( (stat != HAL_OK) & (ctr<3))
	{
		kappa("\r\nError writing config (%d)...", stat);
		ctr++;
		vTaskDelay(150);
		stat = HAL_FLASH_Program(FLASH_TYPEPROGRAM_DOUBLEWORD, ADDR_FLASH_PAGE_252,  config_data);
	}

	if (stat==HAL_OK)
		kappa("\r\nCONFIG STORED!");

	HAL_FLASH_Lock();

	kappa("\r\nStore_config_64 finished!");
}

void store_config(float32_t cal_loc, uint8_t gps_loc, uint8_t lpwa_loc,
		uint8_t octave_loc, uint16_t RecTime_loc, uint16_t LeqTime_loc)
{
	uint64_t data_out = ((*(uint64_t *)&cal_loc)<<32);
	uint32_t tmp = (gps_loc<<31) | ((lpwa_loc&0x1)<<30) | ((octave_loc&0x1)<<29)
				| ((RecTime_loc&0x1FFF)<<16) | ((LeqTime_loc&0xFFF)<<4);
	data_out |=tmp;
	store_config_64(data_out);
	////kappa("\r\nstore_config Done!");
}

void load_config(float32_t *cal_loc, uint8_t *gps_loc, uint8_t *lpwa_loc,
			uint8_t *octave_loc, uint16_t *RecTime_loc, uint16_t	*LeqTime_loc)
{
	Address =ADDR_FLASH_PAGE_252;
	uint64_t *p = (uint64_t *)ADDR_FLASH_PAGE_252;
	////kappa("\r\nload_config: %lx - %lx",(uint32_t)((*p)>>32), (uint32_t)((*p)&0xFFFFFFFF));
	uint32_t pt1 = (*p)>>32;
	uint32_t pt2 = (uint32_t)((*p)&0xFFFFFFFF);
	*cal_loc = *(float32_t*)&pt1;
	*gps_loc = (pt2>>31);
	*lpwa_loc = (pt2>>30)&0x01;
	*octave_loc = (pt2>>29)&0x01;
	*RecTime_loc = ((pt2>>16)&0x1FFF);
	*LeqTime_loc = ((pt2>>4)&0xFFF);
	////kappa("\r\nload_config Done!");
}

void HAL_RTCEx_WakeUpTimerEventCallback(RTC_HandleTypeDef *hrtc)
{
	kappa("\r\nWakeup timer");
	HAL_NVIC_EnableIRQ(EXTI15_10_IRQn);
	HAL_RTCEx_DeactivateWakeUpTimer(hrtc);
}

void SystemClock_Config_Low(void)
{
  RCC_OscInitTypeDef RCC_OscInitStruct = {0};
  RCC_ClkInitTypeDef RCC_ClkInitStruct = {0};

  /** Configure the main internal regulator output voltage
  */
  if (HAL_PWREx_ControlVoltageScaling(PWR_REGULATOR_VOLTAGE_SCALE1) != HAL_OK)
  {
    Error_Handler();
  }

  /** Configure LSE Drive Capability
  */
  HAL_PWR_EnableBkUpAccess();
  __HAL_RCC_LSEDRIVE_CONFIG(RCC_LSEDRIVE_LOW);

  /** Initializes the RCC Oscillators according to the specified parameters
  * in the RCC_OscInitTypeDef structure.
  */
  RCC_OscInitStruct.OscillatorType = RCC_OSCILLATORTYPE_HSE|RCC_OSCILLATORTYPE_LSE;
  RCC_OscInitStruct.HSEState = RCC_HSE_ON;
  RCC_OscInitStruct.LSEState = RCC_LSE_ON;
  RCC_OscInitStruct.PLL.PLLState = RCC_PLL_ON;
  RCC_OscInitStruct.PLL.PLLSource = RCC_PLLSOURCE_HSE;
  RCC_OscInitStruct.PLL.PLLM = 2;
  RCC_OscInitStruct.PLL.PLLN = 8;
  RCC_OscInitStruct.PLL.PLLP = RCC_PLLP_DIV19;
  RCC_OscInitStruct.PLL.PLLQ = RCC_PLLQ_DIV8;
  RCC_OscInitStruct.PLL.PLLR = RCC_PLLR_DIV8;
  if (HAL_RCC_OscConfig(&RCC_OscInitStruct) != HAL_OK)
  {
    Error_Handler();
  }

  /** Initializes the CPU, AHB and APB buses clocks
  */
  RCC_ClkInitStruct.ClockType = RCC_CLOCKTYPE_HCLK|RCC_CLOCKTYPE_SYSCLK
                              |RCC_CLOCKTYPE_PCLK1|RCC_CLOCKTYPE_PCLK2;
  RCC_ClkInitStruct.SYSCLKSource = RCC_SYSCLKSOURCE_PLLCLK;
  RCC_ClkInitStruct.AHBCLKDivider = RCC_SYSCLK_DIV2;
  RCC_ClkInitStruct.APB1CLKDivider = RCC_HCLK_DIV1;
  RCC_ClkInitStruct.APB2CLKDivider = RCC_HCLK_DIV1;

  if (HAL_RCC_ClockConfig(&RCC_ClkInitStruct, FLASH_LATENCY_0) != HAL_OK)
  {
    Error_Handler();
  }

  /** Enables the Clock Security System
  */
  HAL_RCC_EnableCSS();
}

void HAL_SPI_TxCpltCallback(SPI_HandleTypeDef *hspi)
{
	//kappa("\r\nSPI Tx: %x-%x-%x", hspi, &hspi1, &hspi2);
	if(hspi == &hspi2)
		osSemaphoreRelease(sem_SPI_DMAHandle);
	else if(hspi == &hspi1)
		osSemaphoreRelease(sem_mem_writeHandle);
	//kappa("\r\nSPI Tx!");
}

void HAL_SPI_RxCpltCallback(SPI_HandleTypeDef *hspi)
{

	if(hspi == &hspi2)
		osSemaphoreRelease(sem_SPI_DMAHandle);
	else if(hspi == &hspi1)
		osSemaphoreRelease(sem_mem_readHandle);
	//kappa("\r\nSPI Rx!");
}

uint32_t ADXL355_SPI_Read_DMA(uint8_t ui8address) {

	HAL_StatusTypeDef status;
	uint8_t recieveData;
	uint8_t txData;

	txData = (ui8address << 1) | 1 ;

	HAL_GPIO_WritePin(SPI2_CS_GPIO_Port, SPI2_CS_Pin, GPIO_PIN_RESET); //ON

	status = HAL_SPI_Transmit_DMA(&hspi2, &txData, 1);
	osSemaphoreAcquire(sem_SPI_DMAHandle, osWaitForever);

	status = HAL_SPI_Receive_DMA(&hspi2, &recieveData, 1);
	osSemaphoreAcquire(sem_SPI_DMAHandle, osWaitForever);

	HAL_GPIO_WritePin(SPI2_CS_GPIO_Port, SPI2_CS_Pin, GPIO_PIN_SET); //OFF

	if (status == HAL_OK)
		return recieveData;
	else
		printf("\r\nError Reading: Invalid HAL_STATUS\r\n");

	return 255;
}

uint32_t ADXL355_SPI_Read(uint8_t ui8address) {

	HAL_StatusTypeDef status;
	uint8_t recieveData;
	uint8_t txData;

	txData = (ui8address << 1) | 1 ;

	HAL_GPIO_WritePin(SPI2_CS_GPIO_Port, SPI2_CS_Pin, GPIO_PIN_RESET); //ON

	status = HAL_SPI_Transmit (&hspi2, &txData, 1, 100);
	status = HAL_SPI_Receive (&hspi2, &recieveData, 1, 100);

	HAL_GPIO_WritePin(SPI2_CS_GPIO_Port, SPI2_CS_Pin, GPIO_PIN_SET); //OFF

	if (status == HAL_OK)
		return recieveData;
	else
		kappa("\r\nError Reading: Invalid HAL_STATUS\r\n");

	return 255;
}

/*
 * @param : ui8address - unsigned 8 bit integer that represents the address we will write to
 * @param : ui8Data - unsigned 8 bit integer that represents the data we will write into the corresponding address
 * @param : enMode - regarding how many bytes of data you will write, i chose to not really use this and hardcoded a
 *                   1 for '1 byte' in every write I ever used
 *
 * This function is a callback for the accelerometer write
 */
void ADXL355_SPI_Write(uint8_t ui8address, uint8_t ui8Data, enWriteData enMode) {

	HAL_StatusTypeDef status;
	uint8_t address;

	address = ((ui8address << 1) & 0xFE);

	HAL_GPIO_WritePin(SPI2_CS_GPIO_Port, SPI2_CS_Pin, GPIO_PIN_RESET); //ON

	status = HAL_SPI_Transmit (&hspi2, &address, 1, 100);
	status = HAL_SPI_Transmit (&hspi2, &ui8Data, 1, 100);

	HAL_GPIO_WritePin(SPI2_CS_GPIO_Port, SPI2_CS_Pin, GPIO_PIN_SET); //OFF

	if (status != HAL_OK)
		printf("\r\nError writing: Invalid HAL STATUS\r\n");
}

int32_t ADXL355_SPI_READ_ACC(uint8_t axis)	//Axis = 0x00 - x, 0x01 - y, 0x02 - z
{
	uint32_t acc_val_raw3 = 0, acc_val_raw2 = 0, acc_val_raw1 = 0;
	int32_t acc_val = 0;

	switch(axis)
	{
		case 0x00:
			acc_val_raw3 = ADXL355_SPI_Read_DMA(XDATA3);
			acc_val_raw2 = ADXL355_SPI_Read_DMA(XDATA2);
			acc_val_raw1 = ADXL355_SPI_Read_DMA(XDATA1);
		break;

		case 0x01:
			acc_val_raw3 = ADXL355_SPI_Read_DMA(YDATA3);
			acc_val_raw2 = ADXL355_SPI_Read_DMA(YDATA2);
			acc_val_raw1 = ADXL355_SPI_Read_DMA(YDATA1);
		break;

		case 0x02:
			acc_val_raw3 = ADXL355_SPI_Read_DMA(ZDATA3);
			acc_val_raw2 = ADXL355_SPI_Read_DMA(ZDATA2);
			acc_val_raw1 = ADXL355_SPI_Read_DMA(ZDATA1);

			/*acc_val_raw3 = ADXL355_SPI_Read(ZDATA3);
			acc_val_raw2 = ADXL355_SPI_Read(ZDATA2);
			acc_val_raw1 = ADXL355_SPI_Read(ZDATA1);*/
		break;
	}

	acc_val = ADXL355_Acceleration_Data_Conversion(
							((acc_val_raw3<<16) & 0x00FF0000) |
									((acc_val_raw2<<8) & 0x0000FF00) |
											(acc_val_raw1 & 0x000000FF));
	return acc_val;
}

void HAL_GPIO_EXTI_Callback(uint16_t GPIO_Pin)
{
	if(GPIO_Pin == GPIO_PIN_13)
	{
		HAL_NVIC_DisableIRQ(EXTI15_10_IRQn);
		data_ctr = 0;

		SystemClock_Config_Low();
		MX_GPIO_Init();
		MX_DMA_Init();
		MX_RTC_Init();
		MX_USART1_UART_Init();
		MX_SPI1_Init();
	    MX_SPI2_Init();
	    MX_LPTIM1_Init();
		HAL_LPTIM_Counter_Start_IT(&hlptim1, 15999);
		kappa("Iniciado\r\n");
	}
}

void HAL_LPTIM_AutoReloadMatchCallback(LPTIM_HandleTypeDef *hlptim)
{
	//kappa("Timer\r\n");
	if(data_ctr < data_buff_len)
	{
		osSemaphoreRelease(sem_samplingHandle);

	}else
	{
		HAL_LPTIM_Counter_Stop_IT(&hlptim1);
		osSemaphoreRelease(sem_processingHandle);
	}
}

void postprocessing()
{
	float acc_val_flt;
	float	output_INT ; //envio de datos
	float	output_Final ; //envío de datos
	float	Octavas_Final ; //envío de datos

	arm_rfft_fast_instance_f32 S;	//for FFT
	arm_rfft_fast_instance_f32 K;	// for InverseFFT
	arm_rfft_fast_instance_f32 M;	// for third-octave FFT

	for(int ii=0;ii<data_buff_len;ii++)
	{

		//input_buf[ii] = 1000*data_array[ii] / 26214.4;
		input_f32[ii]= 1000*((data_array[ii] / 26214.4)-9.722);
		#ifdef debug
			acc_val_flt = 1000*((data_array[ii] / 26214.4)-9.722);
			kappa("%d.%d\r\n", (int) acc_val_flt, (int) (fmodf(fabs(acc_val_flt), 1.0)*1));
		#endif
	}

	//// FFT ////
	arm_rfft_fast_init_f32(&S,2048); //Initialize the rFFT

	arm_rfft_fast_f32(&S, input_f32, output_f32, 0); //rFFT
	//arm_cmplx_mag_f32(output_f32, output_rfft, 1024);//1024 /magnitud porq tiene parte imaginaria

	////////////

	 ////// Sign from the input
		int sig=0;
		while (sig<2048)
	   {

			if(output_f32[sig]>=0)
			{
				signo[sig]=1;
				signo[sig+1]=1;
			}
			if(output_f32[sig]<0)
			{
				signo[sig]=-1;
				signo[sig+1]=-1;
			}

		 sig=sig+2;  	//incremento
	  //////////////////
	   }

	 ////// Angle (between real and imaginary data)
		int cc=0;
		int aa=0;
		while (cc<2048 && aa < 1024)
	   {
		rfft_angle[aa]=atan(output_f32[cc+1]/output_f32[cc]);
		cc=cc+2;  	//incremento
		aa++;
	  //////////////////
	   }

		//Modulo FFT (ocupo aqui el mismo array despeus de haber extraido el angulo y eel signo)
		arm_cmplx_mag_f32(output_f32, output_f32, 1024);//1024 /magnitud porq tiene parte imaginaria

		int q=0;  		 	//inicialización del contador
		while (q<1024) 	//condicion  (para array de volyaje j=4096)///////////
		   {
	///////////////PONDERACION ///////////////////
		 //ya que los 2048 datos de array representan 256Hz
		 //por tanto el dato 0 esta a 0.25Hz
		 //          el dato 1 esta a 0.50Hz, etc

		//Ponderacion: H= PasoAlto * PasoBajo * PondFrecPura
		//Ponderacion: H= Hh * Hl * Ht

		//FRECUENCIA para ponderacion
		f[q]=q*0.125; //0.125 // 1024/125 = 8 //calculo de la frecuencia de cada muestra

		///PASO ALTO///
			//f1=10^-0.1Hz
		f1= 0.79432823472428150206591828283639; //pow(10,-0.1)
		//Hh= sqrt((pow(f,4)/(pow(f,4)+pow(f1,4)));
		//Hh[q]= sqrt(pow(f[q],4)/(pow(f[q],4)+pow(f1,4)));

		///PASO BAJO///
		f2=100;
		//Hl= sqrt((pow(f2,4)/(pow(f,4)+pow(f2,4)));
		//Hl[q]= sqrt(pow(f2,4)/(pow(f[q],4)+pow(f2,4)));

		///PONDERACION PURA///
		f3=5.6841051104248334203172772633041; //   formula: 1/(0.028*(2*M_PI));
		// Hh= sqrt((pow(f3,2)/(pow(f,2)+pow(f3,2)));
		//Ht[q]= sqrt(pow(f3,2)/(pow(f[q],2)+pow(f3,2)));

		///FUNCION DE TRASNFERENCIA///
			///Transformar a dB, (20log(x))///
		//H[q]= (Hh[q])*(Hl[q])*(Ht[q]);     /// realizo en un solo paso el calculo
		H[q]= (sqrt(pow(f[q],4)/(pow(f[q],4)+pow(f1,4))))*(sqrt(pow(f2,4)/(pow(f[q],4)+pow(f2,4))))
			   *(sqrt(pow(f3,2)/(pow(f[q],2)+pow(f3,2))));
		//se convierte a Decibelios
		//Hp[q]= 20*log10(H[q]);   // se debe usar log10, porque log es LogaritNatural

		//Introducir ala salida compleja de FFT en ingreso de InverseFFT
		//y se multiplica por la ponderacio en frecuencia

		//inputIFFT_f32[q]=output_f32[q] * H[q];
		//inputIFFT_f32_mod[q]=output_rfft[q];
		output_f32[q]=(output_f32[q]*H[q])/1024;	//
		//output_f32[q]=(output_f32[q]*H[q])/1024;	//

			q++;  			//incremento

	//////////////////
		   }

	////// Complete FFT of 2048 despues de la ponderación

	//		int ww=0;
	//		while (ww<1024)
	//	   {
	//			inputIFFT_f32_mod[1024+ww]=inputIFFT_f32_mod[1023-ww];
	//	  	ww++;  	//increment

	//////////////////
	//	   }

	////// Calculation of real e imaginary part  (base on module & angle)

			int www=0;
			int aaa=0;
			while (www<2048 && aaa < 1024)
				 {
				#ifdef debug
					output_INT=output_f32[aaa];
					kappa("%d.%d\r\n", (int) output_INT, (int) (fmodf(fabs(output_INT), 1.0)*1000));
				#endif
				inputIFFT_f32[www]=(cos(rfft_angle[aaa]))*(output_f32[aaa]);
				//inputIFFT_f32[www]=(cos(rfft_angle[aaa]))*(inputIFFT_f32_mod[aaa]);
				inputIFFT_f32[www+1]=(sin(rfft_angle[aaa]))*(output_f32[aaa]);
				//inputIFFT_f32[www+1]=(sin(rfft_angle[aaa]))*(inputIFFT_f32_mod[aaa]);

				www=www+2;  	//increment
				aaa++;
	//////////////////
		   }

	//// AÑADIR SIGNO
			int sig2=0;
			while (sig2<2048)
		   {
			input_f32[sig2]= inputIFFT_f32[sig2]*signo[sig2];//se ocupa array anterior
			//output_signo[sig2]= inputIFFT_f32[sig2]*signo[sig2];

				sig2++;  	//incremento
		  //////////////////
		   }

	/////INVERSE FFT ///
	arm_rfft_fast_init_f32(&K,2048); ///Initialize the riFFT
	arm_rfft_fast_f32(&K, input_f32, outputIFFT_f32, 1); //ingreso del output complejo de FFT en la funcion IFFT

	#ifdef debug
		for(int iiii=0;iiii<2048;iiii++)
		{
		output_Final=1000*outputIFFT_f32[iiii];
		kappa("%d.%d\r\n", (int) output_Final, (int) (fmodf(fabs(output_Final), 1.0)*1000));
		}
	#endif

	//arm_rfft_fast_f32(&K, output_signo, outputIFFT_f32, 1); //ingreso del output complejo de FFT en la funcion IFFT
	////////////////////

	///////////////////// BUFFER  input RMS
//			int w=0;
//			while (w<2048)
//			   {
//				MovRmsInput[w]=1000*outputIFFT_f32[w];
//			  	w++;  			//incremento

	//////////////////
//			   }

	//////////////// RMS ////////////////

	   // Calculate RMS values
		for (int i = 0; i < 2048; i++)
		{						 // 256 es el numero de muestras en 1 segundo
								 // velocidad del RMS movil 0,125sec
			if (i <= (2048-32)) // 32 muestras (0,125sec)total menos intervalo de RMS
			{
				float suma_cuadrada = 0.0;
				for (int j = i; j < i+32; j++) // 32 samples = 0,125sec
				{
					suma_cuadrada += outputIFFT_f32[j] * outputIFFT_f32[j];
					}
					RunRMS[i] = sqrt(suma_cuadrada / 32); // 32 samples = 0,125sec
					//RunRunRMS[i] = sqrt(suma_cuadrada / 32);
						}
						if (i > (2048-32)) 	// 32 samples = 0,125sec
						{
							float suma_cuadrada = 0.0;
							for (int j = i; j < 2048; j++)
					 {
					suma_cuadrada += outputIFFT_f32[j] * outputIFFT_f32[j];
				}
				 RunRMS[i] = sqrt(suma_cuadrada / (2048 - i));
				 //RunRunRMS[i] = sqrt(suma_cuadrada / (2048 - i));
			 }
		}

		//// FFT para Tercios de octava////

		arm_rfft_fast_init_f32(&M,2048); //Initialize the rFFT

		arm_rfft_fast_f32(&M, RunRMS, output_Run, 0); //rFFT
		arm_cmplx_mag_f32(output_Run, output_Run_mag, 1024);//1024 /magnitud

		//////////////// OCTAVE ////////////////
		for (int i = 0; i < 24; i++)
		{
			// índice inicial y la cantidad de elementos para sumar
			int indice_inicial = NPosition[i];
			int elementos_a_sumar = Nband[i];

			// suma de los elementos
			float suma_amp = 0;
			for (int j = 0; j < elementos_a_sumar; j++)
			{
				suma_amp += output_Run_mag[indice_inicial + j];
			}

		// Almacenar la suma (Altura x Base)(Amplitude x Bandwidth)(amplitud del bin de frecuwncia)
		Octave[i] = suma_amp*Nband[i]*0.125; //sumAmplitud*NumeroBandas*AnchoFreq
		}

		//Extraccion y envio de MTVV
		for(int iiii=0;iiii<1;iiii++) // solo 1 dato
		{
			//Max value of spectrum after Running RMS
			arm_max_f32(output_Run_mag, 2048, max_mtvv, output_Run_mag);
			#ifdef debug
				Octavas_Final=max_mtvv[iiii];	//ocupo el mismo array que ocupare en las octavas mas adelante
				kappa("%d.%d\r MTVV\n", (int) Octavas_Final, (int) (fmodf(fabs(Octavas_Final), 1.0)*1));
			#endif
			//kappa("%d.%d\r\n", (int) output_INT, (int) (fmodf(fabs(output_INT), 1.0)*1000));
		}
		#ifdef debug
			//Envio de las 20 Octavas
			for(int iiii=0;iiii<20;iiii++) //para transmitir las 20 bandas (para llegar a 80Hz que interesa)
			{
				Octavas_Final=Octave[iiii];
				kappa("%d.%d\r\n", (int) Octavas_Final, (int) (fmodf(fabs(Octavas_Final), 1.0)*1000));
				//kappa("%d.%d\r\n", (int) output_INT, (int) (fmodf(fabs(output_INT), 1.0)*1000));
			}
		#endif
}
/* USER CODE END 4 */

void task_main(void *argument)
{
  /* USER CODE BEGIN 5 */

	kappa("\r\n****STARTING...!****");
	//kappa("\r\nEEPROM Length: %d", get_eeprom_data_len());
	/* Infinite loop */
	vTaskDelay(500);
	if (hUsbDeviceFS.dev_state == USBD_STATE_CONFIGURED)
	{
		usb_taskHandle = osThreadNew(task_usb, NULL, &usb_task_attributes);
		USB_plugged = 1;
		kappa("\r\nUSB MODE(%d, %d)",  hUsbDeviceFS.ep0_state, hUsbDeviceFS.dev_state);
		for (;;)
		{}
	}

	vTaskDelay(1000);
	ADXL355_Init();
	vTaskDelay(100);
	ADXL355_Start_Sensor();
	kappa("\r\nSYSTEM READY!\r\n");

	HAL_PWREx_EnterSTOP2Mode(PWR_STOPENTRY_WFI);

	for (;;)
	{
		osSemaphoreAcquire(sem_processingHandle, osWaitForever);

		SystemClock_Config();
		MX_GPIO_Init();
		MX_DMA_Init();
		MX_RTC_Init();
		MX_USART1_UART_Init();
		MX_SPI1_Init();
		MX_SPI2_Init();
		MX_LPTIM1_Init();

		kappa("\r\nProcessing data!");

		postprocessing();

		kappa("\r\nDone!\r\n");
		__HAL_GPIO_EXTI_CLEAR_IT(GPIO_PIN_13);
		HAL_NVIC_EnableIRQ(EXTI15_10_IRQn);

		HAL_SuspendTick();
		//HAL_PWR_EnterSLEEPMode(PWR_LOWPOWERREGULATOR_ON, PWR_SLEEPENTRY_WFI);
		HAL_PWREx_EnterSTOP2Mode(PWR_STOPENTRY_WFI);
	}
  /* USER CODE END 5 */
}

void sampling_task(void *argument)
{
  /* USER CODE BEGIN sampling_task */
  /* Infinite loop */
  for(;;)
  {
	  osSemaphoreAcquire(sem_samplingHandle, osWaitForever);
	  HAL_GPIO_TogglePin(STATUS_P_GPIO_Port, STATUS_P_Pin);
	  data_array[data_ctr] = ADXL355_SPI_READ_ACC(2);
	  data_ctr++;
  }
  /* USER CODE END sampling_task */
}

void Error_Handler(void)
{
	__disable_irq();
	while (1)
	{
	}
}

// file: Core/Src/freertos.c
/* USER CODE BEGIN Header */
/**
  ******************************************************************************
  * File Name          : freertos.c
  * Description        : Code for freertos applications
  ******************************************************************************
  * @attention
  *
  * Copyright (c) 2023 STMicroelectronics.
  * All rights reserved.
  *
  * This software is licensed under terms that can be found in the LICENSE file
  * in the root directory of this software component.
  * If no LICENSE file comes with this software, it is provided AS-IS.
  *
  ******************************************************************************
  */
/* USER CODE END Header */

#include "FreeRTOS.h"
#include "task.h"
#include "main.h"

/* USER CODE BEGIN VPORT_SUPPORT_TICKS_AND_SLEEP */
__weak void vPortSuppressTicksAndSleep( TickType_t xExpectedIdleTime )
{
  // Generated when configUSE_TICKLESS_IDLE == 2.
  // Function called in tasks.c (in portTASK_FUNCTION).
  // TO BE COMPLETED or TO BE REPLACED by a user one, overriding that weak one.
}
/* USER CODE END VPORT_SUPPORT_TICKS_AND_SLEEP */
